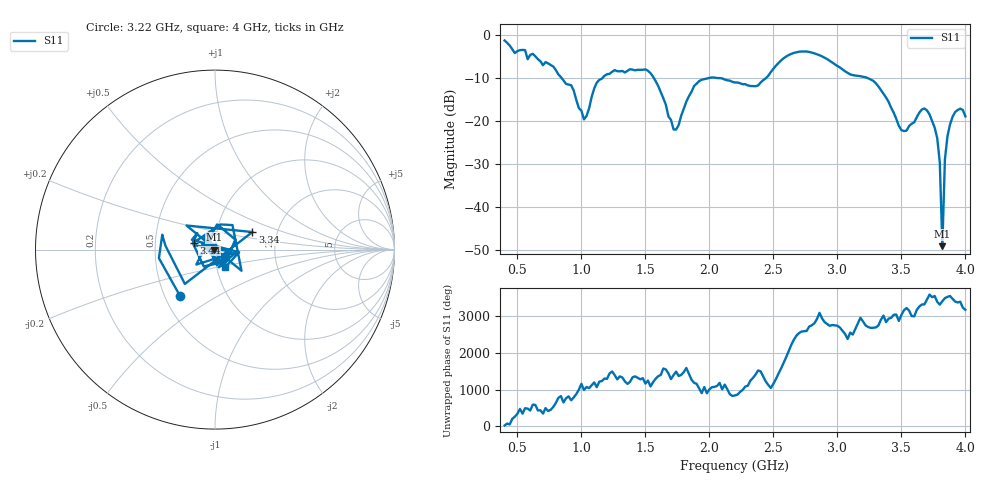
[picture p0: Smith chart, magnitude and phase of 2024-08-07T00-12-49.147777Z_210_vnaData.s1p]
!Created with skrf (http://scikit-rf.org).
# Hz S RI R 50.0
!freq ReS11 ImS11
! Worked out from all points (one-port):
!   181 points, 400 MHz to 4 GHz, reference 50 ohm
!   lowest |S11| = -49.1 dB at 3.82 GHz (marker M1), VSWR 1.01, Z = 49.7 + j0.0464 ohm
!   |S11| at or under -10 dB: 1.567 GHz to 1.989 GHz (422.4 MHz wide, 23.8 % of centre); 2.09 GHz to 2.441 GHz (351.4 MHz wide, 15.5 % of centre); 3.24 GHz to end of sweep (the widest 3 of 4)
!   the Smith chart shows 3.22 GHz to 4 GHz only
!   S11 on the Smith chart (normalised r, x): 3.22 GHz: 0.60, -0.35; 3.34 GHz: 1.49, +0.31; 3.44 GHz: 0.78, +0.06; 4 GHz: 1.09, -0.22
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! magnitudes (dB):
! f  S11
! 400 MHz  -1.2
! 860 MHz  -10.5
! 920 MHz  -11.6
! 1.02 GHz  -19.6
! 1.12 GHz  -11.0
! 1.3 GHz  -8.4
! 1.52 GHz  -8.3
! 1.6 GHz  -11.8
! 1.72 GHz  -21.9
! 1.76 GHz  -20.9
! 1.92 GHz  -10.7
! 2.2 GHz  -11.0
! 2.38 GHz  -11.7
! 2.66 GHz  -4.1
! 3.1 GHz  -9.1
! 3.22 GHz  -9.8
! 3.34 GHz  -12.7
! 3.44 GHz  -18.0
! 3.5 GHz  -22.1
! 3.56 GHz  -21.1
! 3.68 GHz  -17.0
! 3.76 GHz  -21.5
! 3.8 GHz  -29.6
! 3.82 GHz  -49.1
! 3.84 GHz  -28.9
! 3.86 GHz  -23.5
! 3.92 GHz  -17.9
! 4 GHz  -18.9
